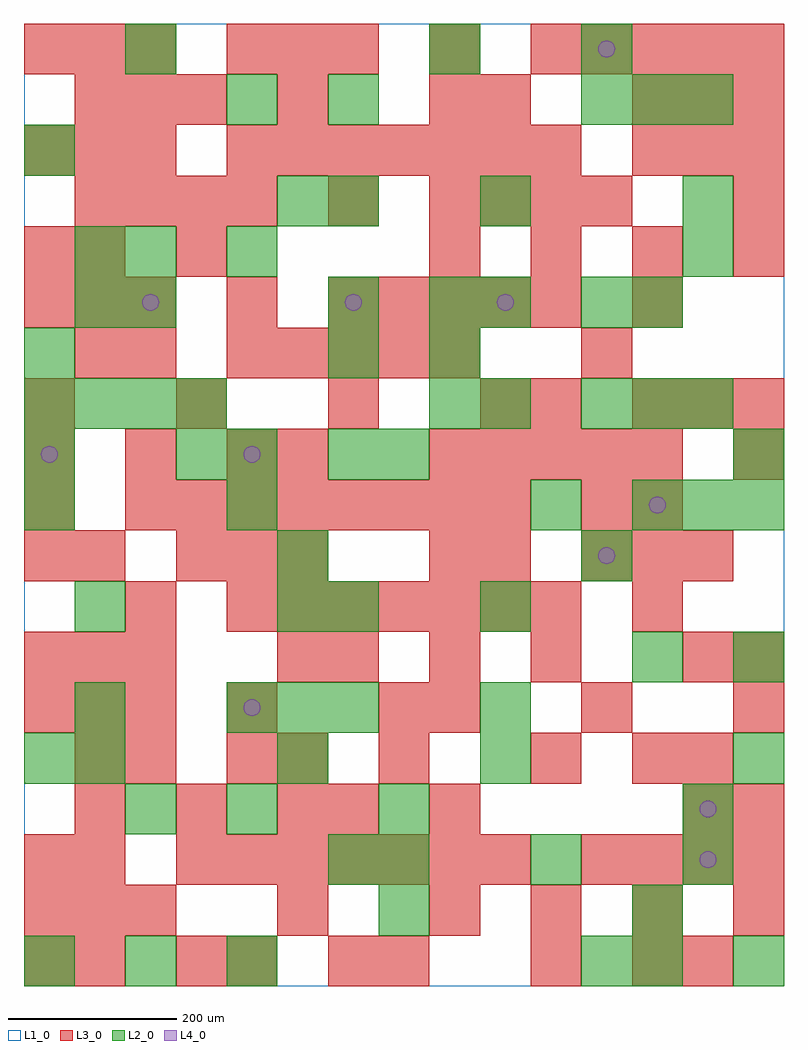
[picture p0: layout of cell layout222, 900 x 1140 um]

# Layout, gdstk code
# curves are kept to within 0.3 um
import gdstk
lib = gdstk.Library(unit=1e-6, precision=1e-09)
def R(c, l, rs):  # rectangles x0, y0, x1, y1
    for r in rs: c.add(gdstk.rectangle(r[:2], r[2:], *l))
def A(c, l, x, y, w, h, nx, ny, dx, dy):  # array of equal rectangles
    R(c, l, [(x+i*dx, y+j*dy, x+i*dx+w, y+j*dy+h) for i in range(nx) for j in range(ny)])
def P(c, l, *ps):  # polygons
    for p in ps: c.add(gdstk.Polygon(p, *l))
L1_0 = (1, 0)
L2_0 = (2, 0)
L3_0 = (3, 0)
L4_0 = (4, 0)

layout222 = lib.new_cell('layout222')
R(layout222, L1_0, [(0,0,900,1140)])
A(layout222, L2_0, 0, 0, 60, 60, 3, 1, 120, 0)
A(layout222, L2_0, 420, 120, 60, 60, 3, 1, 180, 0)
A(layout222, L2_0, 60, 240, 60, 60, 3, 1, 240, 0)
A(layout222, L2_0, 240, 300, 60, 60, 3, 1, 60, 0)
A(layout222, L2_0, 660, 480, 60, 60, 1, 3, 0, 300)
A(layout222, L2_0, 720, 540, 60, 60, 3, 1, 60, 0)
A(layout222, L2_0, 0, 660, 60, 60, 4, 1, 60, 0)
A(layout222, L2_0, 480, 660, 60, 60, 1, 3, 0, 60)
A(layout222, L2_0, 540, 660, 60, 60, 1, 3, 0, 120)
A(layout222, L2_0, 660, 660, 60, 60, 3, 2, 60, 360)
A(layout222, L2_0, 360, 780, 60, 60, 1, 3, 0, 120)
R(layout222, L2_0, [(660,0,720,60), (720,0,780,60), (840,0,900,60), (420,60,480,120), (720,60,780,120), (360,120,420,180), (120,180,180,240), (240,180,300,240), (420,180,480,240), (780,180,840,240), (0,240,60,300), (840,240,900,300), (60,300,120,360), (540,300,600,360), (720,360,780,420), (840,360,900,420), (60,420,120,480), (300,420,360,480), (360,420,420,480), (540,420,600,480), (300,480,360,540), (0,540,60,600), (240,540,300,600), (600,540,660,600), (0,600,60,660), (180,600,240,660), (240,600,300,660), (360,600,420,660), (420,600,480,660), (840,600,900,660), (0,720,60,780), (360,720,420,780), (60,780,120,840), (120,780,180,840), (720,780,780,840), (60,840,120,900), (120,840,180,900), (240,840,300,900), (780,840,840,900), (300,900,360,960), (780,900,840,960), (0,960,60,1020), (240,1020,300,1080), (120,1080,180,1140), (480,1080,540,1140)])
A(layout222, L3_0, 60, 0, 60, 60, 1, 3, 0, 120)
A(layout222, L3_0, 0, 60, 60, 60, 3, 2, 60, 240)
A(layout222, L3_0, 480, 60, 60, 60, 4, 2, 120, 780)
A(layout222, L3_0, 180, 120, 60, 60, 7, 1, 60, 0)
A(layout222, L3_0, 660, 120, 60, 60, 4, 1, 60, 0)
A(layout222, L3_0, 60, 180, 60, 60, 3, 1, 120, 0)
A(layout222, L3_0, 480, 300, 60, 60, 3, 1, 180, 0)
A(layout222, L3_0, 0, 360, 60, 60, 3, 2, 60, 420)
A(layout222, L3_0, 360, 360, 60, 60, 3, 1, 120, 0)
A(layout222, L3_0, 240, 420, 60, 60, 7, 2, 60, 540)
A(layout222, L3_0, 180, 480, 60, 60, 3, 1, 60, 0)
A(layout222, L3_0, 660, 480, 60, 60, 3, 1, 60, 0)
A(layout222, L3_0, 120, 540, 60, 60, 8, 1, 60, 0)
A(layout222, L3_0, 0, 600, 60, 60, 3, 1, 120, 0)
A(layout222, L3_0, 480, 600, 60, 60, 5, 1, 60, 0)
A(layout222, L3_0, 0, 660, 60, 60, 4, 1, 180, 0)
A(layout222, L3_0, 720, 660, 60, 60, 3, 2, 60, 300)
A(layout222, L3_0, 240, 720, 60, 60, 5, 1, 60, 0)
A(layout222, L3_0, 360, 780, 60, 60, 5, 1, 60, 0)
A(layout222, L3_0, 60, 900, 60, 60, 4, 1, 60, 0)
A(layout222, L3_0, 480, 900, 60, 60, 4, 1, 60, 0)
A(layout222, L3_0, 0, 960, 60, 60, 3, 2, 60, 120)
A(layout222, L3_0, 60, 1020, 60, 60, 3, 1, 60, 0)
A(layout222, L3_0, 720, 1020, 60, 60, 3, 1, 60, 0)
A(layout222, L3_0, 240, 1080, 60, 60, 3, 1, 60, 0)
A(layout222, L3_0, 600, 1080, 60, 60, 5, 1, 60, 0)
R(layout222, L3_0, [(0,0,60,60), (180,0,240,60), (240,0,300,60), (360,0,420,60), (420,0,480,60), (600,0,660,60), (720,0,780,60), (780,0,840,60), (300,60,360,120), (0,120,60,180), (360,180,420,240), (480,180,540,240), (780,180,840,240), (840,180,900,240), (120,240,180,300), (240,240,300,300), (300,240,360,300), (420,240,480,300), (600,240,660,300), (720,240,780,300), (780,240,840,300), (240,300,300,360), (420,300,480,360), (300,360,360,420), (780,360,840,420), (840,360,900,420), (120,420,180,480), (720,420,780,480), (0,480,60,540), (60,480,120,540), (480,480,540,540), (540,480,600,540), (0,540,60,600), (660,540,720,600), (720,540,780,600), (300,600,360,660), (840,600,900,660), (600,660,660,720), (60,720,120,780), (120,720,180,780), (660,720,720,780), (240,780,300,840), (720,780,780,840), (0,840,60,900), (60,840,120,900), (180,840,240,900), (360,900,420,960), (840,900,900,960), (300,1020,360,1080), (480,1020,540,1080), (540,1020,600,1080), (480,1080,540,1140)])
P(layout222, L4_0, [(40,630),(39.239,633.827),(37.071,637.071),(33.827,639.239),(30,640),(26.173,639.239),(22.929,637.071),(20.761,633.827),(20,630),(20.761,626.173),(22.929,622.929),(26.173,620.761),(30,620),(33.827,620.761),(37.071,622.929),(39.239,626.173)],
  [(160,810),(159.239,813.827),(157.071,817.071),(153.827,819.239),(150,820),(146.173,819.239),(142.929,817.071),(140.761,813.827),(140,810),(140.761,806.173),(142.929,802.929),(146.173,800.761),(150,800),(153.827,800.761),(157.071,802.929),(159.239,806.173)],
  [(280,330),(279.239,333.827),(277.071,337.071),(273.827,339.239),(270,340),(266.173,339.239),(262.929,337.071),(260.761,333.827),(260,330),(260.761,326.173),(262.929,322.929),(266.173,320.761),(270,320),(273.827,320.761),(277.071,322.929),(279.239,326.173)],
  [(280,630),(279.239,633.827),(277.071,637.071),(273.827,639.239),(270,640),(266.173,639.239),(262.929,637.071),(260.761,633.827),(260,630),(260.761,626.173),(262.929,622.929),(266.173,620.761),(270,620),(273.827,620.761),(277.071,622.929),(279.239,626.173)],
  [(400,810),(399.239,813.827),(397.071,817.071),(393.827,819.239),(390,820),(386.173,819.239),(382.929,817.071),(380.761,813.827),(380,810),(380.761,806.173),(382.929,802.929),(386.173,800.761),(390,800),(393.827,800.761),(397.071,802.929),(399.239,806.173)],
  [(580,810),(579.239,813.827),(577.071,817.071),(573.827,819.239),(570,820),(566.173,819.239),(562.929,817.071),(560.761,813.827),(560,810),(560.761,806.173),(562.929,802.929),(566.173,800.761),(570,800),(573.827,800.761),(577.071,802.929),(579.239,806.173)],
  [(700,510),(699.239,513.827),(697.071,517.071),(693.827,519.239),(690,520),(686.173,519.239),(682.929,517.071),(680.761,513.827),(680,510),(680.761,506.173),(682.929,502.929),(686.173,500.761),(690,500),(693.827,500.761),(697.071,502.929),(699.239,506.173)],
  [(700,1110),(699.239,1113.827),(697.071,1117.071),(693.827,1119.239),(690,1120),(686.173,1119.239),(682.929,1117.071),(680.761,1113.827),(680,1110),(680.761,1106.173),(682.929,1102.929),(686.173,1100.761),(690,1100),(693.827,1100.761),(697.071,1102.929),(699.239,1106.173)],
  [(760,570),(759.239,573.827),(757.071,577.071),(753.827,579.239),(750,580),(746.173,579.239),(742.929,577.071),(740.761,573.827),(740,570),(740.761,566.173),(742.929,562.929),(746.173,560.761),(750,560),(753.827,560.761),(757.071,562.929),(759.239,566.173)],
  [(820,150),(819.239,153.827),(817.071,157.071),(813.827,159.239),(810,160),(806.173,159.239),(802.929,157.071),(800.761,153.827),(800,150),(800.761,146.173),(802.929,142.929),(806.173,140.761),(810,140),(813.827,140.761),(817.071,142.929),(819.239,146.173)],
  [(820,210),(819.239,213.827),(817.071,217.071),(813.827,219.239),(810,220),(806.173,219.239),(802.929,217.071),(800.761,213.827),(800,210),(800.761,206.173),(802.929,202.929),(806.173,200.761),(810,200),(813.827,200.761),(817.071,202.929),(819.239,206.173)])

lib.write_gds('layout222.gds')
